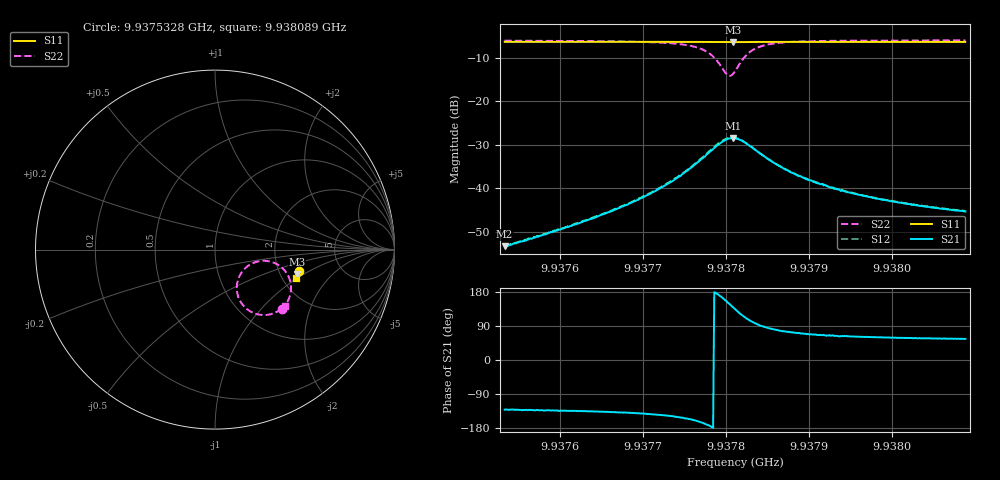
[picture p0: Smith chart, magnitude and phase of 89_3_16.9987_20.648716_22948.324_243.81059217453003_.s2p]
#  HZ  S  RI  R  50.00
! Rohde & Schwarz Vector Network Analyzer
! Rohde-Schwarz,ZNB20-2Port,1311601062101988,3.16
! Created: UTC 3/20/2024, 10:56:04 PM
! freq[Hz]  re:S11  im:S11  re:S21  im:S21  re:S12  im:S12  re:S22  im:S22
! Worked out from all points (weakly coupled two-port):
!   401 points, 9.9375328 GHz to 9.938089 GHz, reference 50 ohm
!   highest |S21| = -28.50 dB at 9.9378081 GHz (marker M1); lowest = -53.4 dB at 9.9375328 GHz (marker M2)
!   lowest |S11| = -6.4 dB at 9.9378081 GHz (marker M3), VSWR 2.82, Z = 123 - j43.6 ohm
!   |S11| at or under -10 dB: nowhere
!   |S22| runs from -14.2 to -6.0 dB; largest |S21 - S12| = 0.002
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9.93753277e9  0.4668 -0.1214  -0.00141 -0.00162  -0.00147 -0.00159  0.3709 -0.3288
9.93755641e9  0.4663 -0.123  -0.00165 -0.00182  -0.00173 -0.00185  0.3675 -0.3314
9.93762594e9  0.4646 -0.1278  -0.00285 -0.00288  -0.00295 -0.00288  0.3529 -0.3416
9.93767739e9  0.4632 -0.1314  -0.0047 -0.00417  -0.00486 -0.00413  0.3341 -0.3516
9.9377191e9  0.4622 -0.1342  -0.00799 -0.00568  -0.00821 -0.00568  0.3036 -0.3615
9.93775387e9  0.4604 -0.1368  -0.0145 -0.00669  -0.015 -0.00666  0.2473 -0.3626
9.93777473e9  0.459 -0.1381  -0.0227 -0.00456  -0.0236 -0.00421  0.1813 -0.3341
9.93778446e9  0.458 -0.1386  -0.0281 -0.000527  -0.029 0.000191  0.1436 -0.2927
9.93779419e9  0.457 -0.1382  -0.0326 0.00742  -0.0331 0.00903  0.1213 -0.2189
9.93780254e9  0.4567 -0.1375  -0.0322 0.0179  -0.0322 0.0195  0.1413 -0.1382
9.93780532e9  0.4567 -0.1374  -0.0309 0.0211  -0.0305 0.0228  0.1591 -0.1136
9.9378081e9  0.4567 -0.137  -0.0288 0.0241  -0.0281 0.0259  0.1812 -0.0929
9.93781088e9  0.457 -0.1371  -0.0262 0.0268  -0.0253 0.0282  0.2067 -0.0775
9.93781783e9  0.4577 -0.1367  -0.0183 0.0306  -0.0172 0.0316  0.2741 -0.0624
9.93782479e9  0.4582 -0.137  -0.0107 0.0306  -0.00979 0.0312  0.3312 -0.0744
9.93783174e9  0.4589 -0.1376  -0.00544 0.0286  -0.00439 0.0291  0.371 -0.0989
9.93784008e9  0.4592 -0.1384  -0.000912 0.0255  -0.000256 0.0254  0.3994 -0.1312
9.93786928e9  0.4594 -0.1413  0.00407 0.0164  0.00447 0.0162  0.4238 -0.2106
9.93790405e9  0.4587 -0.144  0.00461 0.0111  0.00484 0.0111  0.4184 -0.2544
9.93794715e9  0.4575 -0.1471  0.00418 0.00795  0.00433 0.00794  0.4088 -0.2804
9.93799721e9  0.4563 -0.1506  0.00363 0.0061  0.00383 0.00612  0.3998 -0.2969
9.93808899e9  0.4539 -0.157  0.00303 0.00444  0.00315 0.00445  0.388 -0.3135
